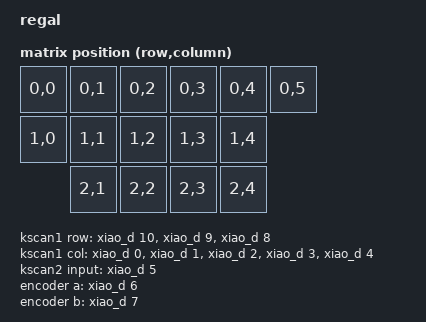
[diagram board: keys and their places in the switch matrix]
/*
 * Copyright (c) 2022 The ZMK Contributors
 *
 * SPDX-License-Identifier: MIT
 */
#include <dt-bindings/zmk/matrix_transform.h>

/ {
    model = "regal";

    chosen {
        zmk,kscan = &kscan0;
        zmk,matrix_transform = &transform;
    };


    transform_transform: transform {
        compatible = "zmk,matrix-transform";
        rows = <3>;
        columns = <6>;

//      | SW01  | SW02  | SW03  | SW04  | TK01  |  EN01  |
//      | SW05  | SW06  | SW07  | SW08  | TK02  |
//              | SW09  | SW10  | SW11  | TK03  | 

        map = <
         RC(0,0) RC(0,1) RC(0,2) RC(0,3) RC(0,4) RC(0,5)
         RC(1,0) RC(1,1) RC(1,2) RC(1,3) RC(1,4)
                 RC(2,1) RC(2,2) RC(2,3) RC(2,4)
        >;
    }; 


    kscan0: kscan_composite {
        compatible = "zmk,kscan-composite";
        label = "KSCAN.0";
        rows = <3>;
        columns = <6>;

        matrix {
            kscan = <&kscan1>;
        };

        direct {
            kscan = <&kscan2>;
            column-offset = <5>; 
        };
    };


    kscan1: kscan_matrix {
        compatible = "zmk,kscan-gpio-matrix";
        label = "KSCAN.1";

        diode-direction = "col2row"; 

        col-gpios
            = <&xiao_d 0 GPIO_ACTIVE_HIGH>
            , <&xiao_d 1 GPIO_ACTIVE_HIGH>
            , <&xiao_d 2 GPIO_ACTIVE_HIGH>
            , <&xiao_d 3 GPIO_ACTIVE_HIGH>
            , <&xiao_d 4 GPIO_ACTIVE_HIGH>
            ;

        row-gpios
            = <&xiao_d 10 (GPIO_ACTIVE_HIGH | GPIO_PULL_DOWN)>
            , <&xiao_d 9 (GPIO_ACTIVE_HIGH | GPIO_PULL_DOWN)>
            , <&xiao_d 8 (GPIO_ACTIVE_HIGH | GPIO_PULL_DOWN)>
            ;
    };

    kscan2: kscan_direct {
        label = "KSCAN.2";
        input-gpios
            = <&xiao_d 5 (GPIO_ACTIVE_LOW | GPIO_PULL_UP)>
            ;
    };

   encoder: encoder {
        compatible = "alps,ec11";
        label = "ENCODER";
        resolution = <4>;
        a-gpios = <&xiao_d 6 (GPIO_ACTIVE_HIGH | GPIO_PULL_UP)>;
        b-gpios = <&xiao_d 7 (GPIO_ACTIVE_HIGH | GPIO_PULL_UP)>;
    };
    sensors {
        compatible = "zmk,keymap-sensors";
        sensors = <&encoder>;
    };
};



&encoder {
    status = "okay";
};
